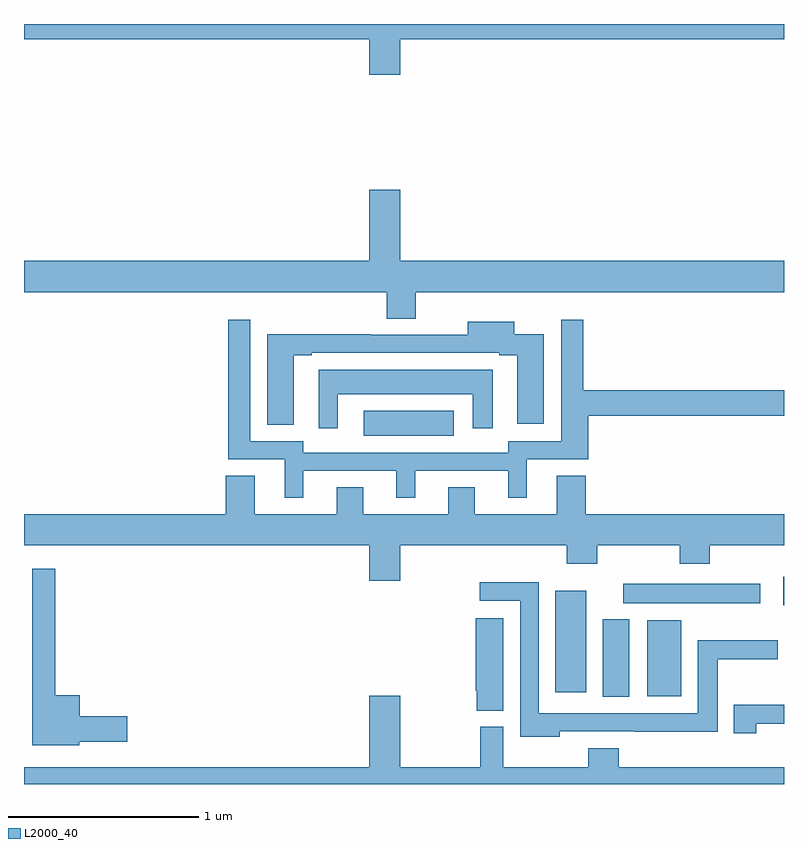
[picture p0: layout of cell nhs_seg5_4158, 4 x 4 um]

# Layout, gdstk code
import gdstk
lib = gdstk.Library(unit=1e-6, precision=1e-09)
def R(c, l, rs):  # rectangles x0, y0, x1, y1
    for r in rs: c.add(gdstk.rectangle(r[:2], r[2:], *l))
def P(c, l, *ps):  # polygons
    for p in ps: c.add(gdstk.Polygon(p, *l))
L2000_40 = (2000, 40)

nhs_seg5_4158 = lib.new_cell('nhs_seg5_4158')
R(nhs_seg5_4158, L2000_40, [(358.046,893.257,358.186,893.665), (358.28,893.261,358.459,893.662), (357.797,893.283,357.958,893.815), (358.995,893.741,359,893.89), (358.155,893.75,358.876,893.854), (356.787,894.632,357.262,894.763)])
P(nhs_seg5_4158, L2000_40, [(356.98,896.72),(359,896.72),(359,896.799),(355,896.799),(355,896.72),(356.816,896.72),(356.816,896.532),(356.98,896.532)],
  [(357.061,895.388),(359,895.388),(359,895.552),(356.98,895.552),(356.98,895.927),(356.816,895.927),(356.816,895.552),(355,895.552),(355,895.388),(356.909,895.388),(356.909,895.249),(357.061,895.249)],
  [(356.47,894.447),(356.96,894.447),(356.96,894.306),(357.058,894.306),(357.058,894.447),(357.548,894.447),(357.548,894.306),(357.646,894.306),(357.646,894.507),(357.971,894.507),(357.971,894.736),(359,894.736),(359,894.872),(357.944,894.872),(357.944,895.243),(357.828,895.243),(357.828,894.603),(357.549,894.603),(357.549,894.543),(356.469,894.543),(356.469,894.603),(356.19,894.603),(356.19,895.243),(356.074,895.243),(356.074,894.507),(356.372,894.507),(356.372,894.306),(356.47,894.306)],
  [(356.419,895.056),(356.515,895.056),(356.515,895.068),(357.5,895.068),(357.5,895.056),(357.596,895.056),(357.596,894.696),(357.736,894.696),(357.736,895.167),(357.58,895.167),(357.58,895.231),(357.335,895.231),(357.335,895.164),(356.825,895.164),(356.825,895.167),(356.279,895.167),(356.279,894.69),(356.419,894.69)],
  [(356.65,894.851),(357.362,894.851),(357.362,894.672),(357.466,894.672),(357.466,894.979),(356.552,894.979),(356.552,894.672),(356.65,894.672)],
  [(356.98,894.056),(357.857,894.056),(357.857,893.957),(358.017,893.957),(358.017,894.056),(358.45,894.056),(358.45,893.957),(358.61,893.957),(358.61,894.056),(359,894.056),(359,894.22),(357.956,894.22),(357.956,894.422),(357.803,894.422),(357.803,894.22),(357.373,894.22),(357.373,894.362),(357.233,894.362),(357.233,894.22),(356.785,894.22),(356.785,894.362),(356.645,894.362),(356.645,894.22),(356.215,894.22),(356.215,894.422),(356.063,894.422),(356.063,894.22),(355,894.22),(355,894.056),(356.816,894.056),(356.816,893.868),(356.98,893.868)],
  [(355.29,893.021),(355.543,893.021),(355.543,893.156),(355.294,893.156),(355.294,893.266),(355.165,893.266),(355.165,893.932),(355.043,893.932),(355.043,893.003),(355.29,893.003)],
  [(357.819,893.076),(358.213,893.076),(358.213,893.075),(358.651,893.075),(358.651,893.455),(358.966,893.455),(358.966,893.555),(358.547,893.555),(358.547,893.172),(357.708,893.172),(357.708,893.861),(357.399,893.861),(357.399,893.763),(357.612,893.763),(357.612,893.048),(357.819,893.048)],
  [(357.523,893.671),(357.377,893.671),(357.377,893.29),(357.382,893.29),(357.382,893.185),(357.523,893.185)],
  [(359,892.888),(358.13,892.888),(358.13,892.987),(357.97,892.987),(357.97,892.888),(357.523,892.888),(357.523,893.1),(357.4,893.1),(357.4,892.888),(356.98,892.888),(356.98,893.263),(356.816,893.263),(356.816,892.888),(355,892.888),(355,892.799),(359,892.799)],
  [(358.854,893.117),(359,893.117),(359,893.217),(358.736,893.217),(358.736,893.067),(358.854,893.067)])

lib.write_gds('nhs_seg5_4158.gds')
